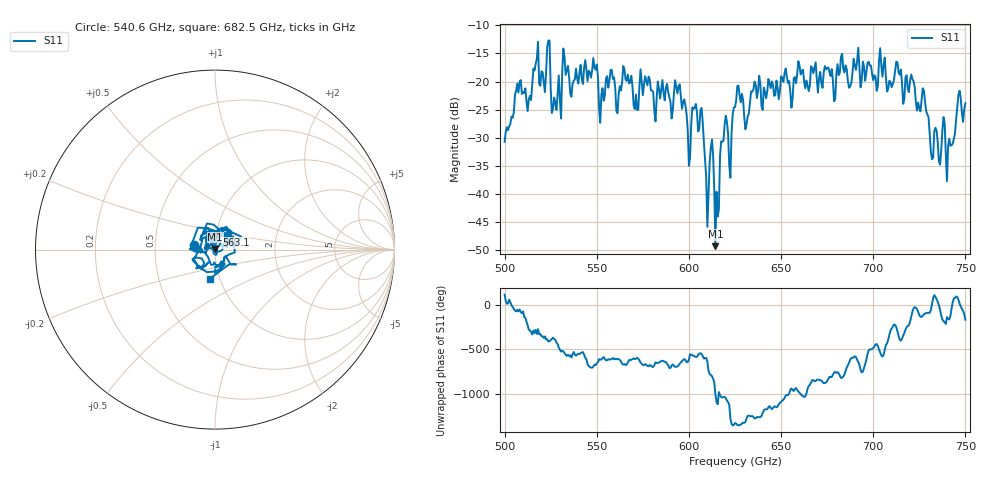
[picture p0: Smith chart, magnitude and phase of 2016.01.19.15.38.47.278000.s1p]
!Created with skrf (http://scikit-rf.org).
# GHz S RI R 50.0
!freq ReS11 ImS11
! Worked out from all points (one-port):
!   401 points, 500 GHz to 750 GHz, reference 50 ohm
!   lowest |S11| = -49.2 dB at 614.4 GHz (marker M1), VSWR 1.01, Z = 50.1 + j0.335 ohm
!   |S11| at or under -10 dB: start of sweep to end of sweep
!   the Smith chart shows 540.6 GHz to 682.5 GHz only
!   S11 on the Smith chart (normalised r, x): 540.6 GHz: 0.79, +0.04; 563.1 GHz: 1.00, +0.17; 682.5 GHz: 0.89, -0.30
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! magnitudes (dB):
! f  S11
! 500 GHz  -30.7
! 507.5 GHz  -21.9
! 513.1 GHz  -23.2
! 516.9 GHz  -16.8
! 520.6 GHz  -18.4
! 523.8 GHz  -12.7
! 526.9 GHz  -22.8
! 531.2 GHz  -18.3
! 540.6 GHz  -18.4
! 562.5 GHz  -20.8
! 563.1 GHz  -21.6
! 593.8 GHz  -22.1
! 600 GHz  -34.9
! 603.1 GHz  -24.6
! 606.9 GHz  -24.7
! 609.4 GHz  -37.0
! 612.5 GHz  -30.3
! 614.4 GHz  -49.2
! 615.6 GHz  -44.0
! 618.8 GHz  -30.5
! 622.5 GHz  -37.1
! 625 GHz  -24.5
! 656.2 GHz  -23.0
! 682.5 GHz  -15.6
! 687.5 GHz  -20.8
! 718.8 GHz  -21.3
! 735.6 GHz  -34.1
! 750 GHz  -23.8
